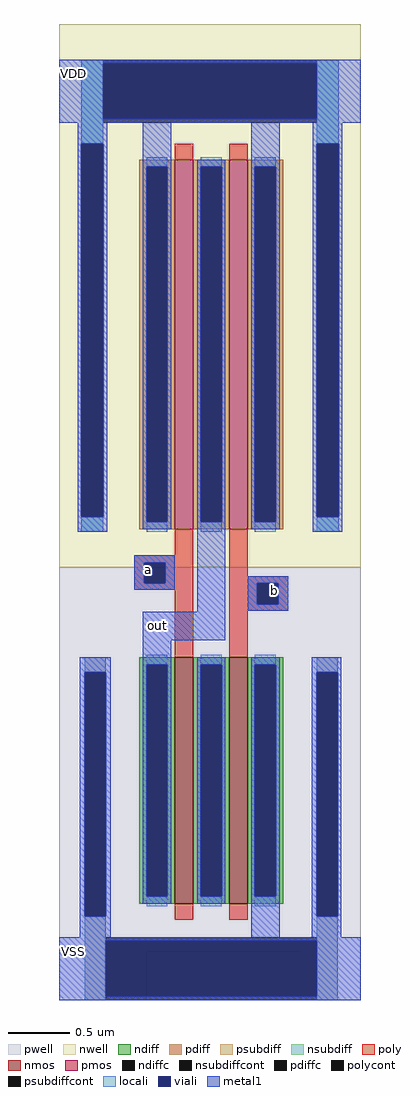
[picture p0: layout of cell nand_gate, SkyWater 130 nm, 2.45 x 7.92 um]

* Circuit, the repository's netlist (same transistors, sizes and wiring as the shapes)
** sch_path: /home/ttuser/Documents/tt09-analog-tdc/xschem/nand_gate.sch
.subckt nand_gate a b out VDD VSS
*.PININFO VDD:B a:I out:O VSS:B b:I
XM7 out a net1 VSS sky130_fd_pr__nfet_01v8 L=0.15 W=2 nf=1 m=1
XM1 out a VDD VDD sky130_fd_pr__pfet_01v8 L=0.15 W=3 nf=1 m=1
XM2 net1 b VSS VSS sky130_fd_pr__nfet_01v8 L=0.15 W=2 nf=1 m=1
XM3 out b VDD VDD sky130_fd_pr__pfet_01v8 L=0.15 W=3 nf=1 m=1
.ends
.end

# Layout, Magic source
magic
tech sky130A
magscale 1 2
<< nwell >>
rect -94 702 396 882
rect -94 0 0 702
rect 306 58 396 702
rect 246 32 396 58
rect 306 0 396 32
<< pwell >>
rect -94 -624 396 0
rect -94 -702 48 -624
rect 298 -702 396 -624
<< psubdiff >>
rect -52 -170 -18 -146
rect -52 -702 -18 -566
rect 324 -170 358 -146
rect 324 -702 358 -566
<< nsubdiff >>
rect -58 688 -22 824
rect -58 58 -22 82
rect 324 688 360 824
rect 324 58 360 82
<< psubdiffcont >>
rect -52 -566 -18 -170
rect 324 -566 358 -170
rect -18 -702 324 -600
<< nsubdiffcont >>
rect -22 722 324 824
rect -58 82 -22 688
rect 324 82 360 688
<< poly >>
rect 94 20 124 36
rect 28 8 124 20
rect 28 -26 44 8
rect 78 -26 124 8
rect 28 -36 124 -26
rect 94 -120 124 -36
rect 182 -14 212 36
rect 182 -26 278 -14
rect 182 -60 228 -26
rect 262 -60 278 -26
rect 182 -70 278 -60
rect 182 -120 212 -70
<< polycont >>
rect 44 -26 78 8
rect 228 -60 262 -26
<< locali >>
rect -58 688 -22 824
rect -58 58 -22 82
rect 324 688 360 824
rect 324 58 360 82
rect 28 8 94 20
rect 28 -26 44 8
rect 78 -26 94 8
rect 28 -36 94 -26
rect 212 -26 278 -14
rect 212 -60 228 -26
rect 262 -60 278 -26
rect 212 -70 278 -60
rect -52 -170 -18 -146
rect -52 -702 -18 -566
rect 324 -170 358 -146
rect 324 -702 358 -566
<< viali >>
rect -22 728 324 818
rect -58 82 -22 688
rect 324 82 360 688
rect 44 -26 78 8
rect 228 -60 262 -26
rect -52 -566 -18 -170
rect 324 -566 358 -170
rect -18 -696 324 -606
<< metal1 >>
rect -94 818 396 824
rect -94 728 -22 818
rect 324 728 396 818
rect -94 722 396 728
rect -64 688 -16 722
rect -64 82 -58 688
rect -22 82 -16 688
rect 42 662 88 722
rect 218 662 264 722
rect 318 688 366 722
rect -64 58 -16 82
rect 318 82 324 688
rect 360 82 366 688
rect 28 8 94 20
rect 28 -26 44 8
rect 78 -26 94 8
rect 28 -36 94 -26
rect 130 -72 176 62
rect 318 58 366 82
rect 212 -26 278 -14
rect 212 -60 228 -26
rect 262 -60 278 -26
rect 212 -70 278 -60
rect 42 -118 176 -72
rect 42 -146 88 -118
rect -60 -170 -10 -146
rect -60 -566 -52 -170
rect -18 -566 -10 -170
rect 316 -170 364 -146
rect -60 -600 -10 -566
rect 218 -600 264 -546
rect 316 -566 324 -170
rect 358 -566 364 -170
rect 316 -600 364 -566
rect -94 -606 396 -600
rect -94 -696 -18 -606
rect 324 -696 396 -606
rect -94 -702 396 -696
use sky130_fd_pr__nfet_01v8_TC9PQS  sky130_fd_pr__nfet_01v8_TC9PQS_0
transform 1 0 109 0 1 -346
box -73 -226 73 226
use sky130_fd_pr__nfet_01v8_TC9PQS  sky130_fd_pr__nfet_01v8_TC9PQS_1
transform 1 0 197 0 1 -346
box -73 -226 73 226
use sky130_fd_pr__pfet_01v8_2K9SAN  sky130_fd_pr__pfet_01v8_2K9SAN_0
transform 1 0 109 0 1 362
box -109 -362 109 362
use sky130_fd_pr__pfet_01v8_2K9SAN  sky130_fd_pr__pfet_01v8_2K9SAN_1
transform 1 0 197 0 1 362
box -109 -362 109 362
<< labels >>
rlabel metal1 28 -26 74 20 0 a
port 1 nsew
rlabel metal1 232 -60 278 -14 0 b
port 2 nsew
rlabel metal1 42 -118 88 -72 0 out
port 3 nsew
rlabel metal1 -94 778 -48 824 0 VDD
port 4 nsew
rlabel metal1 -94 -646 -48 -600 0 VSS
port 5 nsew
<< end >>

# cell sky130_fd_pr__nfet_01v8_TC9PQS: kit device sky130_fd_pr__nfet_01v8, w 2 l 0.150 m 1 nf 1 diffcov 100 polycov 100 guard 0 glc 1 grc 1 gtc 1 gbc 1 tbcov 100 rlcov 100 topc 0 botc 0 poverlap 0 doverlap 1 lmin 0.15 wmin 0.42 compatible {sky130_fd_pr__nfet_01v8 sky130_fd_pr__nfet_01v8_lvt sky130_fd_bs_flash__special_sonosfet_star sky130_fd_pr__nfet_g5v0d10v5 sky130_fd_pr__nfet_05v0_nvt sky130_fd_pr__nfet_03v3_nvt} full_metal 0 viasrc 100 viadrn 100 viagate 100 viagb 0 viagr 0 viagl 0 viagt 0

# cell sky130_fd_pr__pfet_01v8_2K9SAN: kit device sky130_fd_pr__pfet_01v8, w 3 l 0.15 m 1 nf 1 diffcov 100 polycov 100 guard 0 glc 1 grc 1 gtc 1 gbc 1 tbcov 100 rlcov 100 topc 0 botc 0 poverlap 0 doverlap 1 lmin 0.15 wmin 0.42 compatible {sky130_fd_pr__pfet_01v8 sky130_fd_pr__pfet_01v8_lvt sky130_fd_pr__pfet_01v8_hvt sky130_fd_pr__pfet_g5v0d10v5} full_metal 1 viasrc 100 viadrn 100 viagate 100 viagb 0 viagr 0 viagl 0 viagt 0
